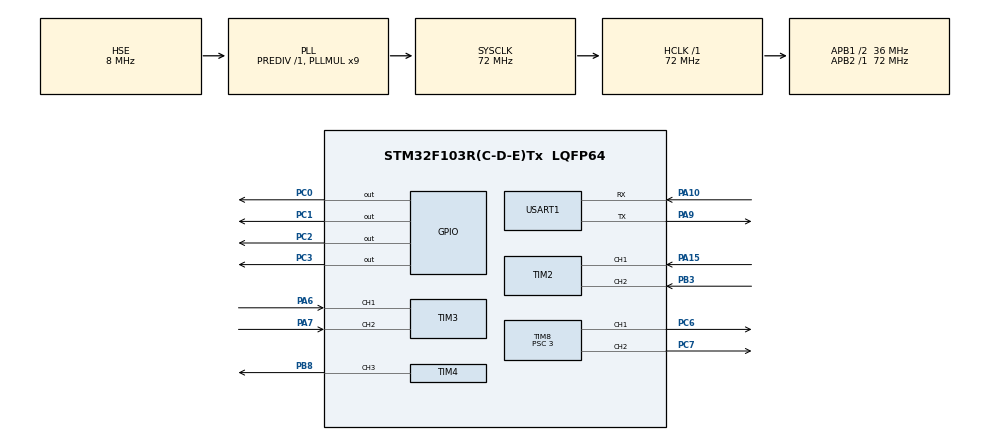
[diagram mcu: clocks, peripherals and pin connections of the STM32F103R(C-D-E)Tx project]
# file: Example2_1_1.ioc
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Mcu.Family=STM32F1
Mcu.Name=STM32F103R(C-D-E)Tx
Mcu.Package=LQFP64
NVIC.PriorityGroup=NVIC_PRIORITYGROUP_4
NVIC.TIM6_IRQn=true\:0\:0\:false\:false\:true\:true\:true\:true
PA10.Mode=Asynchronous
PA10.Signal=USART1_RX
PA13.Mode=Serial_Wire
PA13.Signal=SYS_JTMS-SWDIO
PA14.Mode=Serial_Wire
PA14.Signal=SYS_JTCK-SWCLK
PA15.Signal=S_TIM2_CH1_ETR
PA6.Signal=S_TIM3_CH1
PA7.Signal=S_TIM3_CH2
PA9.Mode=Asynchronous
PA9.Signal=USART1_TX
PB3.Signal=S_TIM2_CH2
PB8.Signal=S_TIM4_CH3
PC0.Signal=GPIO_Output
PC1.Signal=GPIO_Output
PC2.Signal=GPIO_Output
PC3.Signal=GPIO_Output
PC6.Signal=S_TIM8_CH1
PC7.Signal=S_TIM8_CH2
PD0-OSC_IN.Mode=HSE-External-Oscillator
PD0-OSC_IN.Signal=RCC_OSC_IN
PD1-OSC_OUT.Mode=HSE-External-Oscillator
PD1-OSC_OUT.Signal=RCC_OSC_OUT
ProjectManager.HeapSize=0x200
ProjectManager.StackSize=0x400
ProjectManager.TargetToolchain=STM32CubeIDE
RCC.AHBFreq_Value=72000000
RCC.APB1CLKDivider=RCC_HCLK_DIV2
RCC.APB1Freq_Value=36000000
RCC.APB1TimFreq_Value=72000000
RCC.APB2Freq_Value=72000000
RCC.APB2TimFreq_Value=72000000
RCC.HCLKFreq_Value=72000000
RCC.PLLMUL=RCC_PLL_MUL9
RCC.PLLSourceVirtual=RCC_PLLSOURCE_HSE
RCC.SYSCLKFreq_VALUE=72000000
RCC.SYSCLKSource=RCC_SYSCLKSOURCE_PLLCLK
RCC.USBFreq_Value=72000000
SH.S_TIM2_CH1_ETR.0=TIM2_CH1,Encoder_Interface
SH.S_TIM2_CH2.0=TIM2_CH2,Encoder_Interface
SH.S_TIM3_CH1.0=TIM3_CH1,Encoder_Interface
SH.S_TIM3_CH2.0=TIM3_CH2,Encoder_Interface
SH.S_TIM4_CH3.0=TIM4_CH3,PWM Generation3 CH3
SH.S_TIM8_CH1.0=TIM8_CH1,PWM Generation1 CH1
SH.S_TIM8_CH2.0=TIM8_CH2,PWM Generation2 CH2
TIM2.AutoReloadPreload=TIM_AUTORELOAD_PRELOAD_ENABLE
TIM2.EncoderMode=TIM_ENCODERMODE_TI12
TIM3.AutoReloadPreload=TIM_AUTORELOAD_PRELOAD_ENABLE
TIM3.EncoderMode=TIM_ENCODERMODE_TI12
TIM4.Channel-PWM\ Generation3\ CH3=TIM_CHANNEL_3
TIM4.Period=1999
TIM4.Prescaler=719
TIM6.Period=7199
TIM6.Prescaler=499
TIM8.Channel-PWM\ Generation1\ CH1=TIM_CHANNEL_1
TIM8.Channel-PWM\ Generation2\ CH2=TIM_CHANNEL_2
TIM8.Period=999
TIM8.Prescaler=3
USART1.VirtualMode=VM_ASYNC
VP_TIM6_VS_ClockSourceINT.Mode=Enable_Timer
board=custom

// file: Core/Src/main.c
/* USER CODE BEGIN Header */
/**
  ******************************************************************************
  * @file           : main.c
  * @brief          : Main program body
  ******************************************************************************
  * @attention
  *
  * Copyright (c) 2023 STMicroelectronics.
  * All rights reserved.
  *
  * This software is licensed under terms that can be found in the LICENSE file
  * in the root directory of this software component.
  * If no LICENSE file comes with this software, it is provided AS-IS.
  *
  ******************************************************************************
  */
/* USER CODE END Header */
#include "main.h"
#include "tim.h"
#include "usart.h"
#include "gpio.h"

/* USER CODE BEGIN PD */
#define m_DirPort GPIOC
#define AIN1 GPIO_PIN_0
#define AIN2 GPIO_PIN_1
#define BIN1 GPIO_PIN_2
#define BIN2 GPIO_PIN_3

#define filterNum 3
/* USER CODE END PD */

/* USER CODE BEGIN PV */
short leftEncoder[filterNum] = {0};
short rightEncoder[filterNum] = {0};
short encoderPulse[2]={0};
float leftSpeed = 0,rightSpeed = 0;
float leftTargetSpeed = 0;
float rightTargetSpeed = 0;

/* USER CODE END PV */

void SystemClock_Config(void);

/* USER CODE BEGIN 0 */
int myabs(int a)
{
	int temp;
	if(a<0)
	  temp=-a;
	else
	  temp=a;
	return temp;
}

void Left_Go()
{
		HAL_GPIO_WritePin(m_DirPort,AIN1,GPIO_PIN_SET);
		HAL_GPIO_WritePin(m_DirPort,AIN2,GPIO_PIN_RESET);
}

void Right_Go()
{
		HAL_GPIO_WritePin(m_DirPort,BIN1,GPIO_PIN_SET);
		HAL_GPIO_WritePin(m_DirPort,BIN2,GPIO_PIN_RESET);
}

void Left_Back()
{
		HAL_GPIO_WritePin(m_DirPort,AIN1,GPIO_PIN_RESET);
		HAL_GPIO_WritePin(m_DirPort,AIN2,GPIO_PIN_SET);
}

void Right_Back()
{
		HAL_GPIO_WritePin(m_DirPort,BIN1,GPIO_PIN_RESET);
		HAL_GPIO_WritePin(m_DirPort,BIN2,GPIO_PIN_SET);
}

void Go_Back()
{
		HAL_GPIO_WritePin(m_DirPort,AIN1,GPIO_PIN_RESET);
		HAL_GPIO_WritePin(m_DirPort,AIN2,GPIO_PIN_SET);

		HAL_GPIO_WritePin(m_DirPort,BIN1,GPIO_PIN_RESET);
		HAL_GPIO_WritePin(m_DirPort,BIN2,GPIO_PIN_SET);
}

void Left_Stop()
{
		HAL_GPIO_WritePin(m_DirPort,AIN1,GPIO_PIN_RESET);
		HAL_GPIO_WritePin(m_DirPort,AIN2,GPIO_PIN_RESET);
}

void Right_Stop()
{
		HAL_GPIO_WritePin(m_DirPort,BIN1,GPIO_PIN_RESET);
		HAL_GPIO_WritePin(m_DirPort,BIN2,GPIO_PIN_RESET);
}

/**
*	@brief Control Motor Speed
*	@param PWM
*	@retval None
*/
void MotorControl(int leftMotorPWM, int rightMotorPWM)
{
		if(leftMotorPWM>=0&&rightMotorPWM>=0)
		{
//			printf("111\r\n");
				Left_Go();
				Right_Go();
				__HAL_TIM_SET_COMPARE(&htim8,TIM_CHANNEL_1,leftMotorPWM);
				__HAL_TIM_SET_COMPARE(&htim8,TIM_CHANNEL_2,rightMotorPWM);
//		printf("leftPWM is %d\r\n",leftMotorPWM);
//		printf("rightPWM is %d\r\n",rightMotorPWM);
		}

		else if(leftMotorPWM<0&&rightMotorPWM<0)
		{
				Left_Back();
				Right_Back();
				__HAL_TIM_SET_COMPARE(&htim8,TIM_CHANNEL_1,myabs(leftMotorPWM));
				__HAL_TIM_SET_COMPARE(&htim8,TIM_CHANNEL_2,myabs(rightMotorPWM));
		}

		else if(leftMotorPWM==0&&rightMotorPWM==0)
		{
				Left_Stop();
				Right_Stop();
				__HAL_TIM_SET_COMPARE(&htim8,TIM_CHANNEL_1,0);
				__HAL_TIM_SET_COMPARE(&htim8,TIM_CHANNEL_2,0);
		}
}

void Set_Servo_angle(TIM_HandleTypeDef * htim,uint32_t Channel,uint8_t angle)  //舵机驱动
{
	uint16_t compare_value=0;
	if(angle <= 180)   //限制角度为180°
	{
		compare_value=0.5*2000/20+angle*2000/20/90;		//角度转化为数值
		__HAL_TIM_SET_COMPARE(htim, Channel, compare_value);
	}
}

void GetEncoderPulse()
{
	  encoderPulse[0] = -((short)__HAL_TIM_GET_COUNTER(&htim2));
	  encoderPulse[1] = -((short)__HAL_TIM_GET_COUNTER(&htim3));

    __HAL_TIM_GET_COUNTER(&htim2) = 0;	 //计数值重新清零
    __HAL_TIM_GET_COUNTER(&htim3) = 0;
}

float CalActualSpeed(int pulse)
{
    return (float)(0.003092424 * pulse);
}
/* USER CODE END 0 */

int main(void)
{

  /* MCU Configuration--------------------------------------------------------*/

  /* Reset of all peripherals, Initializes the Flash interface and the Systick. */
  HAL_Init();

  /* Configure the system clock */
  SystemClock_Config();

  /* Initialize all configured peripherals */
  MX_GPIO_Init();
  MX_TIM2_Init();
  MX_TIM3_Init();
  MX_TIM6_Init();
  MX_TIM8_Init();
  MX_USART1_UART_Init();
  MX_TIM4_Init();
  /* USER CODE BEGIN 2 */
  HAL_TIM_Base_Start_IT(&htim6);  //使能定时器6中断

  HAL_TIM_PWM_Start(&htim8,TIM_CHANNEL_1);
  HAL_TIM_PWM_Start(&htim8,TIM_CHANNEL_2);

  HAL_TIM_PWM_Start(&htim4,TIM_CHANNEL_3);  //启动定时�??4的PWM模式

  HAL_TIM_Encoder_Start(&htim2,TIM_CHANNEL_1);  //启动定时器2的编码器模式
  HAL_TIM_Encoder_Start(&htim2,TIM_CHANNEL_2);

  HAL_TIM_Encoder_Start(&htim3,TIM_CHANNEL_1);  //启动定时器3的编码器模式
  HAL_TIM_Encoder_Start(&htim3,TIM_CHANNEL_2);

  MotorControl(500,500); //设定电机初始速度

  /* USER CODE END 2 */

  /* Infinite loop */
  while (1)
  {

    /* USER CODE BEGIN 3 */

	  //HAL_Delay(200);

  }
  /* USER CODE END 3 */
}

void SystemClock_Config(void)
{
  RCC_OscInitTypeDef RCC_OscInitStruct = {0};
  RCC_ClkInitTypeDef RCC_ClkInitStruct = {0};

  /** Initializes the RCC Oscillators according to the specified parameters
  * in the RCC_OscInitTypeDef structure.
  */
  RCC_OscInitStruct.OscillatorType = RCC_OSCILLATORTYPE_HSE;
  RCC_OscInitStruct.HSEState = RCC_HSE_ON;
  RCC_OscInitStruct.HSEPredivValue = RCC_HSE_PREDIV_DIV1;
  RCC_OscInitStruct.HSIState = RCC_HSI_ON;
  RCC_OscInitStruct.PLL.PLLState = RCC_PLL_ON;
  RCC_OscInitStruct.PLL.PLLSource = RCC_PLLSOURCE_HSE;
  RCC_OscInitStruct.PLL.PLLMUL = RCC_PLL_MUL9;
  if (HAL_RCC_OscConfig(&RCC_OscInitStruct) != HAL_OK)
  {
    Error_Handler();
  }

  /** Initializes the CPU, AHB and APB buses clocks
  */
  RCC_ClkInitStruct.ClockType = RCC_CLOCKTYPE_HCLK|RCC_CLOCKTYPE_SYSCLK
                              |RCC_CLOCKTYPE_PCLK1|RCC_CLOCKTYPE_PCLK2;
  RCC_ClkInitStruct.SYSCLKSource = RCC_SYSCLKSOURCE_PLLCLK;
  RCC_ClkInitStruct.AHBCLKDivider = RCC_SYSCLK_DIV1;
  RCC_ClkInitStruct.APB1CLKDivider = RCC_HCLK_DIV2;
  RCC_ClkInitStruct.APB2CLKDivider = RCC_HCLK_DIV1;

  if (HAL_RCC_ClockConfig(&RCC_ClkInitStruct, FLASH_LATENCY_2) != HAL_OK)
  {
    Error_Handler();
  }
}

/* USER CODE BEGIN 4 */
void HAL_TIM_PeriodElapsedCallback(TIM_HandleTypeDef *htim)  //定时器6中断回调函数，每50ms调用一次
{
  float c_leftSpeed,c_rightSpeed;
  if(htim==(&htim6))
  {
	    MotorControl(500,500); //设定电机初始速度
		GetEncoderPulse();
		c_leftSpeed = CalActualSpeed(encoderPulse[0]);   //获得当前的速度值
		c_rightSpeed = CalActualSpeed(encoderPulse[1]);
		printf("{left speed is: %.2f m/s}\r\n",c_leftSpeed);
		printf("{right speed is: %.2f m/s}\r\n",c_rightSpeed);
  }
}
/* USER CODE END 4 */

void Error_Handler(void)
{
  __disable_irq();
  while (1)
  {
  }
}
